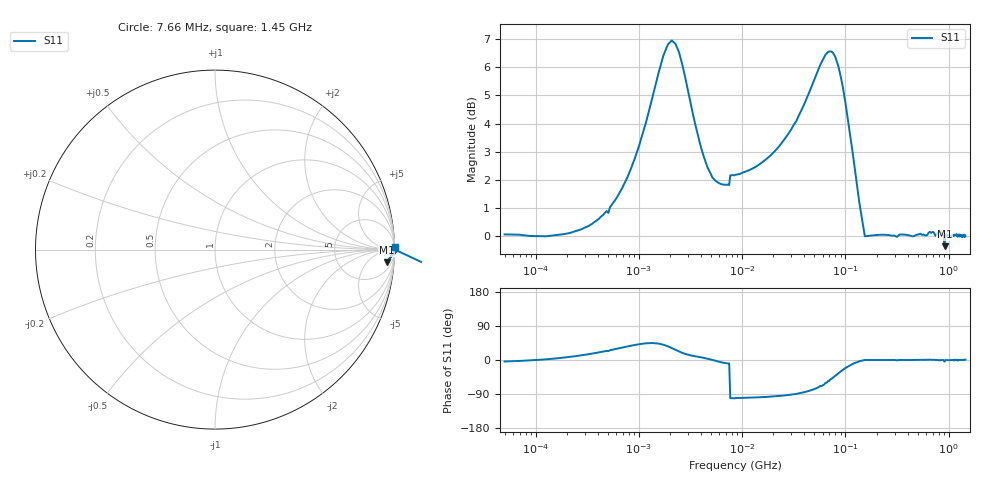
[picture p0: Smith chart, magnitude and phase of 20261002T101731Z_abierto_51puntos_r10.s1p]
! piloto_saltos / abierto_51puntos / r10
# HZ S RI R 50
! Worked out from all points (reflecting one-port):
!   251 points, 50 kHz to 1.45 GHz, reference 50 ohm
!   lowest |S11| = -0.4 dB at 910 MHz (marker M1), VSWR 49.59, Z = 574 - j1.04e+03 ohm
!   phase of S11 starts at -4 deg and turns +5 deg over the sweep
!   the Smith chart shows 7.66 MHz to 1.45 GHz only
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50000  1.005 -0.0696
183000  1.003 0.1068
506000  1.009 0.4396
658000  1.021 0.6296
1180000  1.149 1.116
1720000  1.59 1.356
2080000  1.902 1.156
2440000  1.964 0.8065
3160000  1.685 0.3648
4420000  1.351 0.1072
7480000  1.218 -0.1925
7660000  -0.2414 -1.261
8560000  -0.2347 -1.264
1.72e7  -0.1771 -1.361
3.16e7  -0.0111 -1.578
4.78e7  0.3678 -1.824
5.86e7  0.7361 -1.897
6.4e7  1.041 -1.824
6.58e7  1.049 -1.831
7.12e7  1.335 -1.659
8.56e7  1.645 -1.136
9.82e7  1.628 -0.6736
1.18e8  1.377 -0.2434
1.54e8  1 0.000724
4.06e8  1.005 0.000462
8.74e8  1.007 0.000111
9.1e8  0.9579 -0.0705
1.45e9  1 0.0166
